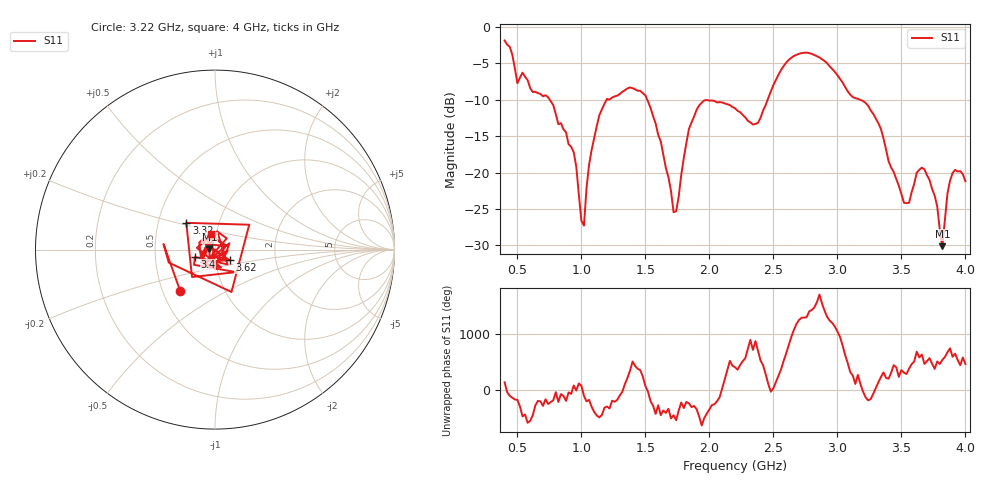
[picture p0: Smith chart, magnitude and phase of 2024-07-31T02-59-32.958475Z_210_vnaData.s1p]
!Created with skrf (http://scikit-rf.org).
# Hz S RI R 50.0
!freq ReS11 ImS11
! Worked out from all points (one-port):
!   181 points, 400 MHz to 4 GHz, reference 50 ohm
!   lowest |S11| = -30.1 dB at 3.82 GHz (marker M1), VSWR 1.06, Z = 47 + j0.178 ohm
!   |S11| at or under -10 dB: 753.4 MHz to 1.196 GHz (442.9 MHz wide, 45.4 % of centre); 1.515 GHz to 2.455 GHz (939.8 MHz wide, 47.3 % of centre); 3.178 GHz to end of sweep
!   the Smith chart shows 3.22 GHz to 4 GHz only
!   S11 on the Smith chart (normalised r, x): 3.22 GHz: 0.61, -0.31; 3.32 GHz: 0.70, +0.22; 3.4 GHz: 0.80, -0.07; 3.62 GHz: 1.17, -0.14; 4 GHz: 0.94, +0.16
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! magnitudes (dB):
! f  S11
! 400 MHz  -1.8
! 500 MHz  -7.7
! 740 MHz  -9.7
! 860 MHz  -14.1
! 940 MHz  -17.2
! 1.02 GHz  -27.3
! 1.06 GHz  -18.9
! 1.14 GHz  -12.1
! 1.3 GHz  -9.2
! 1.5 GHz  -9.4
! 1.62 GHz  -15.7
! 1.72 GHz  -25.4
! 1.76 GHz  -23.3
! 1.84 GHz  -14.0
! 1.92 GHz  -10.8
! 2.2 GHz  -11.2
! 2.38 GHz  -13.2
! 2.66 GHz  -4.0
! 3.1 GHz  -9.3
! 3.22 GHz  -10.4
! 3.32 GHz  -13.2
! 3.4 GHz  -18.4
! 3.56 GHz  -24.1
! 3.62 GHz  -20.0
! 3.72 GHz  -21.0
! 3.82 GHz  -30.1
! 3.9 GHz  -20.1
! 4 GHz  -21.2
